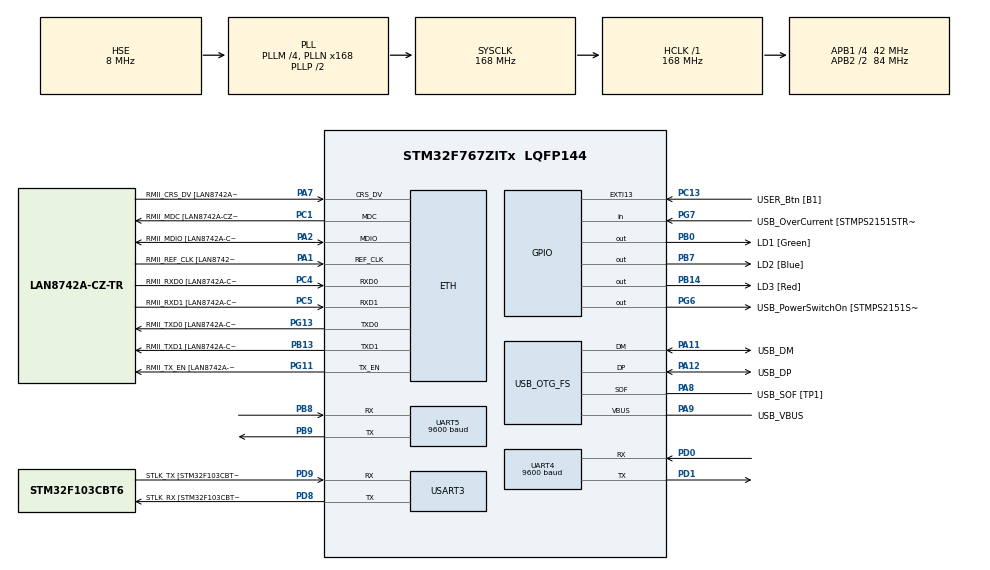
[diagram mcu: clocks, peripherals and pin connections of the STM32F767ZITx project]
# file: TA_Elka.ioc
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ETH.MediaInterface=HAL_ETH_RMII_MODE
ETH.PHY_Name=LAN8742A_PHY_ADDRESS
ETH.PHY_Value=0
ETH.PhyAddress=0
FREERTOS.Mutexes01=Mutex01,Dynamic,NULL
FREERTOS.Tasks01=Task01,24,1024,StartTask01,Default,NULL,Dynamic,NULL,NULL;Task02,24,128,StartTask02,Default,NULL,Dynamic,NULL,NULL;Task03,8,128,StartTask03,Default,NULL,Dynamic,NULL,NULL;Task04,8,128,StartTask04,Default,NULL,Dynamic,NULL,NULL;Task05,8,128,StartTask05,Default,NULL,Dynamic,NULL,NULL
FREERTOS.configUSE_NEWLIB_REENTRANT=1
Mcu.Family=STM32F7
Mcu.Name=STM32F767ZITx
Mcu.Package=LQFP144
NVIC.PriorityGroup=NVIC_PRIORITYGROUP_4
NVIC.UART4_IRQn=true\:5\:0\:false\:false\:true\:true\:true\:true\:true
NVIC.UART5_IRQn=true\:5\:0\:false\:false\:true\:true\:true\:true\:true
PA1.GPIO_Label=RMII_REF_CLK [LAN8742A-CZ-TR_REFCLK0]
PA1.Mode=RMII
PA1.Signal=ETH_REF_CLK
PA10.GPIO_Label=USB_ID
PA10.Signal=USB_OTG_FS_ID
PA11.GPIO_Label=USB_DM
PA11.Mode=Device_Only
PA11.Signal=USB_OTG_FS_DM
PA12.GPIO_Label=USB_DP
PA12.Mode=Device_Only
PA12.Signal=USB_OTG_FS_DP
PA13.GPIO_Label=TMS
PA13.Mode=Serial_Wire
PA13.Signal=SYS_JTMS-SWDIO
PA14.GPIO_Label=TCK
PA14.Mode=Serial_Wire
PA14.Signal=SYS_JTCK-SWCLK
PA2.GPIO_Label=RMII_MDIO [LAN8742A-CZ-TR_MDIO]
PA2.Mode=RMII
PA2.Signal=ETH_MDIO
PA7.GPIO_Label=RMII_CRS_DV [LAN8742A-CZ-TR_CRS_DV]
PA7.Mode=RMII
PA7.Signal=ETH_CRS_DV
PA8.GPIO_Label=USB_SOF [TP1]
PA8.Mode=Activate_SOF_FS
PA8.Signal=USB_OTG_FS_SOF
PA9.GPIO_Label=USB_VBUS
PA9.Mode=Activate_VBUS
PA9.Signal=USB_OTG_FS_VBUS
PB0.GPIO_Label=LD1 [Green]
PB0.Signal=GPIO_Output
PB13.GPIO_Label=RMII_TXD1 [LAN8742A-CZ-TR_TXD1]
PB13.Mode=RMII
PB13.Signal=ETH_TXD1
PB14.GPIO_Label=LD3 [Red]
PB14.Signal=GPIO_Output
PB3.GPIO_Label=SWO
PB3.Signal=SYS_JTDO-SWO
PB7.GPIO_Label=LD2 [Blue]
PB7.Signal=GPIO_Output
PB8.Mode=Asynchronous
PB8.Signal=UART5_RX
PB9.Mode=Asynchronous
PB9.Signal=UART5_TX
PC1.GPIO_Label=RMII_MDC [LAN8742A-CZ-TR_MDC]
PC1.Mode=RMII
PC1.Signal=ETH_MDC
PC13.GPIO_Label=USER_Btn [B1]
PC13.Signal=GPXTI13
PC14/OSC32_IN.Mode=LSE-External-Oscillator
PC14/OSC32_IN.Signal=RCC_OSC32_IN
PC15/OSC32_OUT.Mode=LSE-External-Oscillator
PC15/OSC32_OUT.Signal=RCC_OSC32_OUT
PC4.GPIO_Label=RMII_RXD0 [LAN8742A-CZ-TR_RXD0]
PC4.Mode=RMII
PC4.Signal=ETH_RXD0
PC5.GPIO_Label=RMII_RXD1 [LAN8742A-CZ-TR_RXD1]
PC5.Mode=RMII
PC5.Signal=ETH_RXD1
PD0.Mode=Asynchronous
PD0.Signal=UART4_RX
PD1.Mode=Asynchronous
PD1.Signal=UART4_TX
PD8.GPIO_Label=STLK_RX [STM32F103CBT6_PA3]
PD8.Mode=Asynchronous
PD8.Signal=USART3_TX
PD9.GPIO_Label=STLK_TX [STM32F103CBT6_PA2]
PD9.Mode=Asynchronous
PD9.Signal=USART3_RX
PG11.GPIO_Label=RMII_TX_EN [LAN8742A-CZ-TR_TXEN]
PG11.Mode=RMII
PG11.Signal=ETH_TX_EN
PG13.GPIO_Label=RMII_TXD0 [LAN8742A-CZ-TR_TXD0]
PG13.Mode=RMII
PG13.Signal=ETH_TXD0
PG6.GPIO_Label=USB_PowerSwitchOn [STMPS2151STR_EN]
PG6.Signal=GPIO_Output
PG7.GPIO_Label=USB_OverCurrent [STMPS2151STR_FAULT]
PG7.Signal=GPIO_Input
PH0/OSC_IN.GPIO_Label=MCO [STM32F103CBT6_PA8]
PH0/OSC_IN.Mode=HSE-External-Clock-Source
PH0/OSC_IN.Signal=RCC_OSC_IN
PH1/OSC_OUT.Mode=HSE-External-Clock-Source
PH1/OSC_OUT.Signal=RCC_OSC_OUT
ProjectManager.HeapSize=0x200
ProjectManager.StackSize=0x400
ProjectManager.TargetToolchain=STM32CubeIDE
RCC.48MHZClocksFreq_Value=24000000
RCC.AHBFreq_Value=168000000
RCC.APB1CLKDivider=RCC_HCLK_DIV4
RCC.APB1Freq_Value=42000000
RCC.APB1TimFreq_Value=84000000
RCC.APB2CLKDivider=RCC_HCLK_DIV2
RCC.APB2Freq_Value=84000000
RCC.APB2TimFreq_Value=168000000
RCC.CortexFreq_Value=168000000
RCC.HCLKFreq_Value=168000000
RCC.HSE_VALUE=8000000
RCC.HSI_VALUE=16000000
RCC.PLLM=4
RCC.PLLMUL=RCC_PLL_MUL9
RCC.PLLN=168
RCC.PLLQ=7
RCC.PRESCALERUSB=RCC_USBCLKSOURCE_PLL_DIV1_5
RCC.SYSCLKFreq_VALUE=168000000
RCC.SYSCLKSource=RCC_SYSCLKSOURCE_PLLCLK
RCC.SYSCLKSourceVirtual=RCC_SYSCLKSOURCE_PLLCLK
RCC.USBFreq_Value=48000000
RCC.VCOOutputFreq_Value=336000000
UART4.BaudRate=9600
UART4.Mode=MODE_RX
UART5.BaudRate=9600
UART5.Mode=MODE_RX
USART3.VirtualMode-Asynchronous=VM_ASYNC
USB_OTG_FS.VirtualMode=Device_Only
VP_FREERTOS_VS_CMSIS_V2.Mode=CMSIS_V2
board=NUCLEO-F767ZI

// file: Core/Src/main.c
/* USER CODE BEGIN Header */
/**
  ******************************************************************************
  * @file           : main.c
  * @brief          : Main program body
  ******************************************************************************
  * @attention
  *
  * Copyright (c) 2023 STMicroelectronics.
  * All rights reserved.
  *
  * This software is licensed under terms that can be found in the LICENSE file
  * in the root directory of this software component.
  * If no LICENSE file comes with this software, it is provided AS-IS.
  *
  ******************************************************************************
  */
/* USER CODE END Header */
#include "main.h"
#include "cmsis_os.h"
#include "eth.h"
#include "usart.h"
#include "usb_otg.h"
#include "gpio.h"

/* USER CODE BEGIN Includes */
#include "lwgps/lwgps.h"
#include "map.h"
#include "pid.h"
/* USER CODE END Includes */

/* USER CODE BEGIN PV */

//=============GPS VARIABLE==============
lwgps_t gps;

uint8_t rx_buffer[128];
uint8_t rx_index = 0;
uint8_t rx_data = 0;
float latitude_gps;
float longitude_gps;

//=============HC-05 BLUETOOTH VARIABLE=============
uint8_t bt_rx_buffer[13];

/* USER CODE END PV */

void SystemClock_Config(void);
void MX_FREERTOS_Init(void);

/* USER CODE BEGIN 0 */

void HAL_UART_RxCpltCallback(UART_HandleTypeDef *huart)
{
	if(huart == &huart5) {
		if(rx_data != '\n' && rx_index < sizeof(rx_buffer)) {
			rx_buffer[rx_index++] = rx_data;
		} else {
			lwgps_process(&gps, rx_buffer, rx_index+1);
			rx_index = 0;
			rx_data = 0;
		}
	}
	HAL_UART_Receive_IT(&huart5, &rx_data, 1);
}

/* USER CODE END 0 */

int main(void)
{

  /* MCU Configuration--------------------------------------------------------*/

  /* Reset of all peripherals, Initializes the Flash interface and the Systick. */
  HAL_Init();

  /* Configure the system clock */
  SystemClock_Config();

  /* Initialize all configured peripherals */
  MX_GPIO_Init();
  MX_ETH_Init();
  MX_UART5_Init();
  MX_USART3_UART_Init();
  MX_USB_OTG_FS_PCD_Init();
  MX_UART4_Init();
  /* USER CODE BEGIN 2 */
  lwgps_init(&gps);
  HAL_UART_Receive_IT(&huart5, &rx_data, 1);
  HAL_UART_Receive_IT(&huart4, (uint8_t*) &bt_rx_buffer, sizeof(bt_rx_buffer));
  /* USER CODE END 2 */

  /* Init scheduler */
  osKernelInitialize();  /* Call init function for freertos objects (in freertos.c) */
  MX_FREERTOS_Init();

  /* Start scheduler */
  osKernelStart();

  /* We should never get here as control is now taken by the scheduler */
  /* Infinite loop */
  while (1)
  {

  }
}

void SystemClock_Config(void)
{
  RCC_OscInitTypeDef RCC_OscInitStruct = {0};
  RCC_ClkInitTypeDef RCC_ClkInitStruct = {0};

  /** Configure LSE Drive Capability
  */
  HAL_PWR_EnableBkUpAccess();

  /** Configure the main internal regulator output voltage
  */
  __HAL_RCC_PWR_CLK_ENABLE();
  __HAL_PWR_VOLTAGESCALING_CONFIG(PWR_REGULATOR_VOLTAGE_SCALE2);

  /** Initializes the RCC Oscillators according to the specified parameters
  * in the RCC_OscInitTypeDef structure.
  */
  RCC_OscInitStruct.OscillatorType = RCC_OSCILLATORTYPE_HSE;
  RCC_OscInitStruct.HSEState = RCC_HSE_BYPASS;
  RCC_OscInitStruct.PLL.PLLState = RCC_PLL_ON;
  RCC_OscInitStruct.PLL.PLLSource = RCC_PLLSOURCE_HSE;
  RCC_OscInitStruct.PLL.PLLM = 4;
  RCC_OscInitStruct.PLL.PLLN = 168;
  RCC_OscInitStruct.PLL.PLLP = RCC_PLLP_DIV2;
  RCC_OscInitStruct.PLL.PLLQ = 7;
  RCC_OscInitStruct.PLL.PLLR = 2;
  if (HAL_RCC_OscConfig(&RCC_OscInitStruct) != HAL_OK)
  {
    Error_Handler();
  }

  /** Initializes the CPU, AHB and APB buses clocks
  */
  RCC_ClkInitStruct.ClockType = RCC_CLOCKTYPE_HCLK|RCC_CLOCKTYPE_SYSCLK
                              |RCC_CLOCKTYPE_PCLK1|RCC_CLOCKTYPE_PCLK2;
  RCC_ClkInitStruct.SYSCLKSource = RCC_SYSCLKSOURCE_PLLCLK;
  RCC_ClkInitStruct.AHBCLKDivider = RCC_SYSCLK_DIV1;
  RCC_ClkInitStruct.APB1CLKDivider = RCC_HCLK_DIV4;
  RCC_ClkInitStruct.APB2CLKDivider = RCC_HCLK_DIV2;

  if (HAL_RCC_ClockConfig(&RCC_ClkInitStruct, FLASH_LATENCY_5) != HAL_OK)
  {
    Error_Handler();
  }
}

void Error_Handler(void)
{
  __disable_irq();
  while (1)
  {
  }
}

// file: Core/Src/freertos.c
/* USER CODE BEGIN Header */
/**
  ******************************************************************************
  * File Name          : freertos.c
  * Description        : Code for freertos applications
  ******************************************************************************
  * @attention
  *
  * Copyright (c) 2023 STMicroelectronics.
  * All rights reserved.
  *
  * This software is licensed under terms that can be found in the LICENSE file
  * in the root directory of this software component.
  * If no LICENSE file comes with this software, it is provided AS-IS.
  *
  ******************************************************************************
  */
/* USER CODE END Header */

#include "FreeRTOS.h"
#include "task.h"
#include "main.h"
#include "cmsis_os.h"

/* USER CODE BEGIN Includes */
#include <string.h>
#include <stdbool.h>
#include <stdio.h>

#include "eth.h"
#include "usart.h"
#include "usb_otg.h"
#include "lwgps/lwgps.h"
#include "map.h"
#include "pid.h"
/* USER CODE END Includes */

/* USER CODE BEGIN Variables */

//=============GPS VARIABLE==============
extern lwgps_t gps;

extern uint8_t rx_buffer[128];
extern uint8_t rx_index;
extern uint8_t rx_data;
extern float latitude_gps;
extern float longitude_gps;

//=============HC-05 BLUETOOTH VARIABLE=============
extern uint8_t bt_rx_buffer[13];

/* USER CODE END Variables */
/* Definitions for Task01 */
osThreadId_t Task01Handle;
const osThreadAttr_t Task01_attributes = {
  .name = "Task01",
  .stack_size = 1024 * 4,
  .priority = (osPriority_t) osPriorityNormal,
};
/* Definitions for Task02 */
osThreadId_t Task02Handle;
const osThreadAttr_t Task02_attributes = {
  .name = "Task02",
  .stack_size = 128 * 4,
  .priority = (osPriority_t) osPriorityNormal,
};
/* Definitions for Task03 */
osThreadId_t Task03Handle;
const osThreadAttr_t Task03_attributes = {
  .name = "Task03",
  .stack_size = 128 * 4,
  .priority = (osPriority_t) osPriorityLow,
};
/* Definitions for Task04 */
osThreadId_t Task04Handle;
const osThreadAttr_t Task04_attributes = {
  .name = "Task04",
  .stack_size = 128 * 4,
  .priority = (osPriority_t) osPriorityLow,
};
/* Definitions for Task05 */
osThreadId_t Task05Handle;
const osThreadAttr_t Task05_attributes = {
  .name = "Task05",
  .stack_size = 128 * 4,
  .priority = (osPriority_t) osPriorityLow,
};
/* Definitions for Mutex01 */
osMutexId_t Mutex01Handle;
const osMutexAttr_t Mutex01_attributes = {
  .name = "Mutex01"
};

void StartTask01(void *argument);
void StartTask02(void *argument);
void StartTask03(void *argument);
void StartTask04(void *argument);
void StartTask05(void *argument);

void MX_FREERTOS_Init(void); /* (MISRA C 2004 rule 8.1) */

void MX_FREERTOS_Init(void) {
  /* Create the mutex(es) */
  /* creation of Mutex01 */
  Mutex01Handle = osMutexNew(&Mutex01_attributes);

  /* Create the thread(s) */
  /* creation of Task01 */
  Task01Handle = osThreadNew(StartTask01, NULL, &Task01_attributes);

  /* creation of Task02 */
  Task02Handle = osThreadNew(StartTask02, NULL, &Task02_attributes);

  /* creation of Task03 */
  Task03Handle = osThreadNew(StartTask03, NULL, &Task03_attributes);

  /* creation of Task04 */
  Task04Handle = osThreadNew(StartTask04, NULL, &Task04_attributes);

  /* creation of Task05 */
  Task05Handle = osThreadNew(StartTask05, NULL, &Task05_attributes);

}

void StartTask01(void *argument)
{
  /* USER CODE BEGIN StartTask01 */

  /* Infinite loop */
  for(;;)
  {
	latitude_gps = gps.latitude;
	longitude_gps = gps.longitude;
    osDelay(1);
  }
  /* USER CODE END StartTask01 */
}

void StartTask02(void *argument)
{
  /* USER CODE BEGIN StartTask02 */
  /* Infinite loop */
  for(;;)
  {
	HAL_UART_Receive_IT(&huart4, (uint8_t*) &bt_rx_buffer, sizeof(bt_rx_buffer));

	if (bt_rx_buffer[0] == 'A' && bt_rx_buffer[11] == 'B'){

	}
    osDelay(1);
  }
  /* USER CODE END StartTask02 */
}

void StartTask03(void *argument)
{
  for(;;)
  {
    osDelay(1);
  }
}

void StartTask04(void *argument)
{
  for(;;)
  {
    osDelay(1);
  }
}

void StartTask05(void *argument)
{
  for(;;)
  {
    osDelay(1);
  }
}
